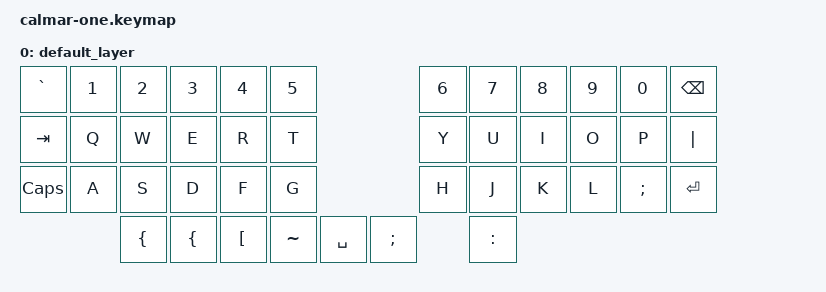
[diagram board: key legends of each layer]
#include <behaviors.dtsi>
#include <dt-bindings/zmk/keys.h>
#include <dt-bindings/zmk/bt.h>

/ {
    keymap {
        compatible = "zmk,keymap";

        default_layer {
            bindings = <
                &kp GRAVE   &kp N1    &kp N2    &kp N3  &kp N4   &kp N5                  &kp N6  &kp N7  &kp N8  &kp N9  &kp N0        &kp BACKSPACE
                &kp TAB     &kp Q     &kp W     &kp E   &kp R    &kp T                   &kp Y   &kp U   &kp I   &kp O   &kp P         &kp PIPE
                &kp CAPS    &kp A     &kp S     &kp D   &kp F    &kp G                   &kp H   &kp J   &kp K   &kp L   &kp SEMICOLON &kp ENTER              
                                      &kp LBRC &kp LBRC &kp LBKT &kp TILDE &kp SPACE &kp SEMICOLON &kp COLON       
            >;
        };
    };
};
